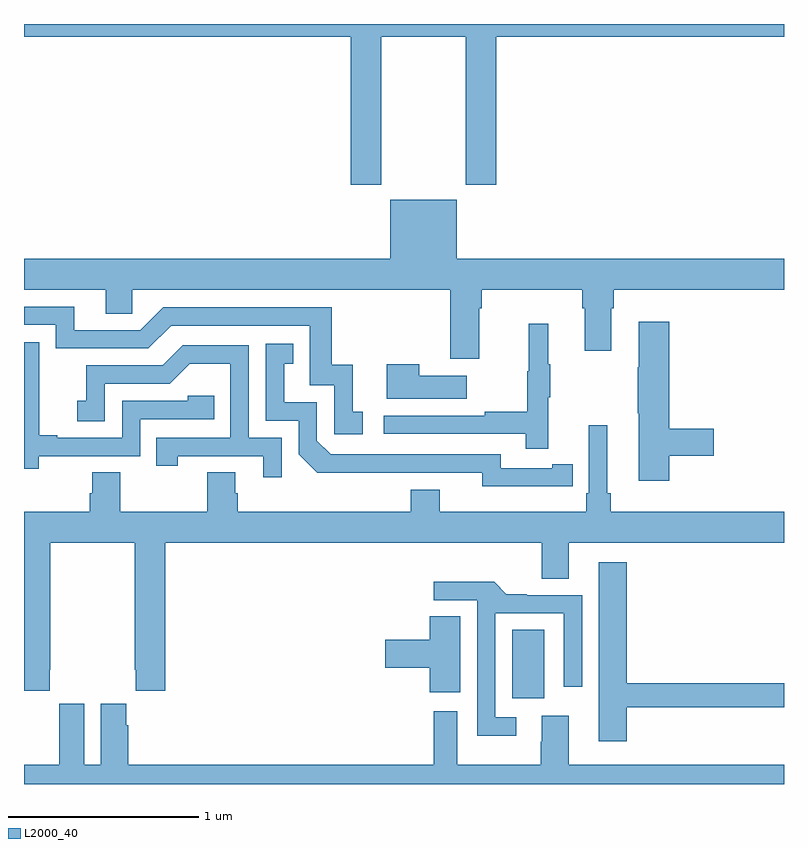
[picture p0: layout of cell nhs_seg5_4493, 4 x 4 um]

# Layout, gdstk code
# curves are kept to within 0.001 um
import gdstk
lib = gdstk.Library(unit=1e-6, precision=1e-09)
def R(c, l, rs):  # rectangles x0, y0, x1, y1
    for r in rs: c.add(gdstk.rectangle(r[:2], r[2:], *l))
def P(c, l, *ps):  # polygons
    for p in ps: c.add(gdstk.Polygon(p, *l))
L2000_40 = (2000, 40)

nhs_seg5_4493 = lib.new_cell('nhs_seg5_4493')
R(nhs_seg5_4493, L2000_40, [(377.57,881.25,377.737,881.612)])
P(nhs_seg5_4493, L2000_40, [(376.881,884.732),(377.326,884.732),(377.326,883.953),(377.486,883.953),(377.486,884.732),(379,884.732),(379,884.799),(375,884.799),(375,884.732),(376.721,884.732),(376.721,883.953),(376.881,883.953)],
  [(377.395,883.304),(377.408,883.304),(377.408,883.4),(377.939,883.4),(377.939,883.304),(377.951,883.304),(377.951,883.08),(378.091,883.08),(378.091,883.304),(378.104,883.304),(378.104,883.4),(379,883.4),(379,883.564),(377.278,883.564),(377.278,883.873),(376.928,883.873),(376.928,883.564),(375,883.564),(375,883.4),(375.431,883.4),(375.431,883.273),(375.57,883.273),(375.57,883.4),(377.243,883.4),(377.243,883.038),(377.395,883.038)],
  [(376.783,882.759),(376.73,882.759),(376.73,883.006),(376.619,883.006),(376.619,883.308),(375.732,883.308),(375.612,883.188),(375.265,883.188),(375.265,883.311),(375,883.311),(375,883.215),(375.168,883.215),(375.168,883.092),(375.654,883.092),(375.774,883.212),(376.503,883.212),(376.503,882.897),(376.632,882.897),(376.632,882.639),(376.783,882.639)],
  [(378.395,882.526),(378.631,882.526),(378.631,882.668),(378.395,882.668),(378.395,883.231),(378.236,883.231),(378.236,882.992),(378.229,882.992),(378.229,882.751),(378.236,882.751),(378.236,882.396),(378.395,882.396)],
  [(377.759,882.835),(377.77,882.835),(377.77,883.009),(377.759,883.009),(377.759,883.222),(377.656,883.222),(377.656,882.972),(377.649,882.972),(377.649,882.758),(377.425,882.758),(377.425,882.738),(376.893,882.738),(376.893,882.642),(377.641,882.642),(377.641,882.564),(377.759,882.564)],
  [(375.078,882.525),(375.612,882.525),(375.612,882.72),(376.001,882.72),(376.001,882.843),(375.861,882.843),(375.861,882.816),(375.516,882.816),(375.516,882.621),(375.175,882.621),(375.175,882.634),(375.08,882.634),(375.08,882.917),(375.081,882.917),(375.081,883.123),(375,883.123),(375,882.457),(375.078,882.457)],
  [(377.78,882.366),(377.888,882.366),(377.888,882.482),(377.78,882.482),(377.78,882.462),(377.508,882.462),(377.508,882.534),(376.614,882.534),(376.542,882.606),(376.542,882.807),(376.369,882.807),(376.369,883.011),(376.418,883.011),(376.418,883.117),(376.272,883.117),(376.272,882.711),(376.446,882.711),(376.446,882.534),(376.544,882.437),(377.412,882.438),(377.412,882.365)],
  [(376.356,882.621),(376.182,882.621),(376.182,883.107),(375.836,883.107),(375.731,883.002),(375.328,883.002),(375.328,882.817),(375.279,882.817),(375.279,882.708),(375.426,882.708),(375.426,882.906),(375.768,882.906),(375.872,883.01),(376.086,883.01),(376.086,882.621),(375.697,882.621),(375.697,882.474),(375.808,882.474),(375.808,882.525),(376.259,882.525),(376.259,882.414),(376.356,882.414)],
  [(377.329,882.949),(377.081,882.949),(377.081,883.009),(376.91,883.009),(376.91,882.827),(377.329,882.827)],
  [(375.135,881.401),(375.138,881.401),(375.138,882.068),(375.583,882.068),(375.583,881.401),(375.589,881.401),(375.589,881.289),(375.743,881.289),(375.743,882.068),(377.726,882.068),(377.726,881.878),(377.866,881.878),(377.866,882.068),(379,882.068),(379,882.232),(378.089,882.232),(378.089,882.328),(378.07,882.328),(378.07,882.688),(377.973,882.688),(377.973,882.328),(377.96,882.328),(377.96,882.232),(377.188,882.232),(377.188,882.349),(377.036,882.349),(377.036,882.232),(376.124,882.232),(376.124,882.33),(376.111,882.33),(376.111,882.44),(375.964,882.44),(375.964,882.232),(375.507,882.232),(375.507,882.44),(375.359,882.44),(375.359,882.33),(375.347,882.33),(375.347,882.232),(375,882.232),(375,881.289),(375.135,881.289)],
  [(378.173,881.202),(379,881.202),(379,881.33),(378.173,881.33),(378.173,881.965),(378.026,881.965),(378.026,881.025),(378.173,881.025)],
  [(377.59,881.151),(377.481,881.151),(377.481,881.697),(377.841,881.697),(377.841,881.31),(377.937,881.31),(377.937,881.793),(377.647,881.793),(377.647,881.798),(377.539,881.798),(377.474,881.864),(377.157,881.864),(377.157,881.766),(377.385,881.766),(377.385,881.054),(377.59,881.054)],
  [(377.296,881.681),(377.135,881.681),(377.135,881.558),(376.902,881.558),(376.902,881.411),(377.135,881.411),(377.135,881.283),(377.296,881.283)],
  [(379,880.9),(377.866,880.9),(377.866,881.158),(377.726,881.158),(377.726,881.021),(377.719,881.021),(377.719,880.9),(377.281,880.9),(377.281,881.182),(377.156,881.182),(377.156,880.9),(375.548,880.9),(375.548,881.108),(375.538,881.108),(375.538,881.221),(375.404,881.221),(375.404,880.9),(375.316,880.9),(375.316,881.221),(375.186,881.221),(375.186,881.108),(375.185,881.108),(375.185,880.9),(375,880.9),(375,880.799),(379,880.799)])

lib.write_gds('nhs_seg5_4493.gds')
